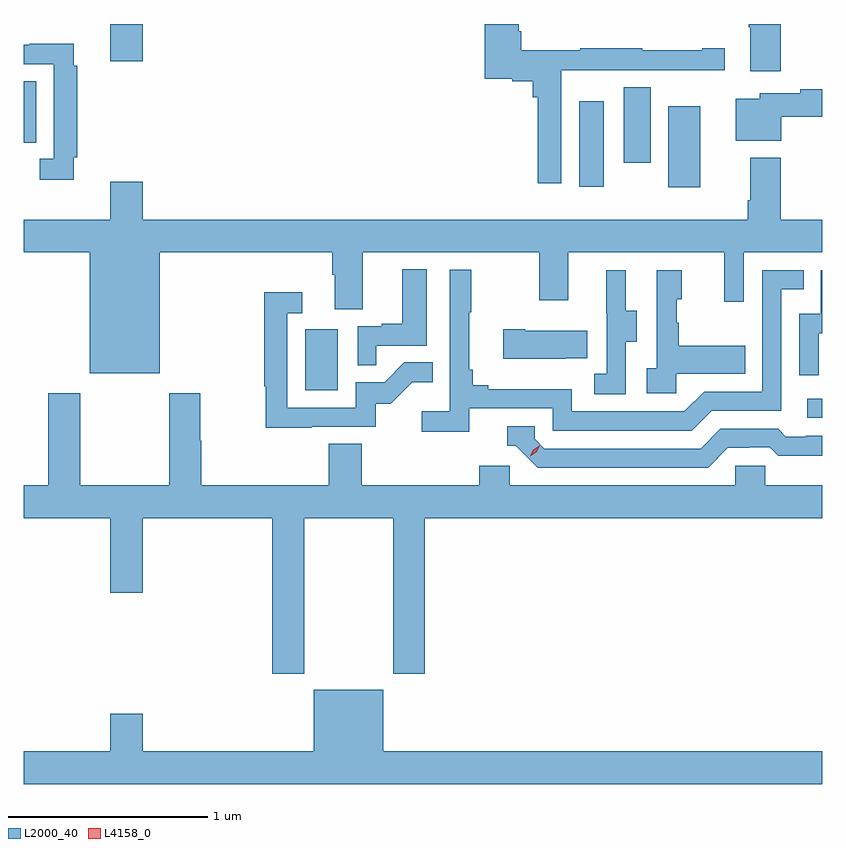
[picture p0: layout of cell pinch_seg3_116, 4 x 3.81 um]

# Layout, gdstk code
import gdstk
lib = gdstk.Library(unit=1e-6, precision=1e-09)
def R(c, l, rs):  # rectangles x0, y0, x1, y1
    for r in rs: c.add(gdstk.rectangle(r[:2], r[2:], *l))
def P(c, l, *ps):  # polygons
    for p in ps: c.add(gdstk.Polygon(p, *l))
L2000_40 = (2000, 40)
L4158_0 = (4158, 0)

pinch_seg3_116 = lib.new_cell('pinch_seg3_116')
R(pinch_seg3_116, L2000_40, [(1067.601,717.402,1067.676,717.498), (1065.086,717.54,1065.25,717.847), (1066.904,718.557,1067.065,718.963), (1066.46,718.56,1066.582,718.99), (1066.682,718.68,1066.816,719.06), (1063.676,718.782,1063.738,719.089), (1064.108,719.19,1064.272,719.376)])
P(pinch_seg3_116, L2000_40, [(1067.468,719.376),(1067.308,719.376),(1067.308,719.36),(1067.315,719.36),(1067.315,719.139),(1067.468,719.139)],
  [(1066.368,719.144),(1066.578,719.144),(1066.578,719.145),(1066.912,719.145),(1066.912,719.144),(1067.188,719.144),(1067.188,719.254),(1067.075,719.254),(1067.075,719.244),(1066.775,719.244),(1066.775,719.254),(1066.465,719.254),(1066.465,719.244),(1066.169,719.244),(1066.169,719.34),(1066.156,719.34),(1066.156,719.376),(1065.986,719.376),(1065.986,719.102),(1066.122,719.102),(1066.122,719.09),(1066.226,719.09),(1066.226,719.009),(1066.252,719.009),(1066.252,718.578),(1066.368,718.578)],
  [(1063.925,718.708),(1063.943,718.708),(1063.943,719.168),(1063.925,719.168),(1063.925,719.276),(1063.705,719.276),(1063.705,719.271),(1063.676,719.271),(1063.676,719.175),(1063.827,719.175),(1063.827,718.701),(1063.755,718.701),(1063.755,718.596),(1063.925,718.596)],
  [(1067.47,718.912),(1067.676,718.912),(1067.676,719.048),(1067.566,719.048),(1067.566,719.028),(1067.364,719.028),(1067.364,719.002),(1067.243,719.002),(1067.243,718.79),(1067.47,718.79)],
  [(1064.356,718.232),(1065.221,718.232),(1065.221,718.12),(1065.233,718.12),(1065.233,717.946),(1065.373,717.946),(1065.373,718.232),(1066.258,718.232),(1066.258,717.993),(1066.405,717.993),(1066.405,718.232),(1067.186,718.232),(1067.186,717.984),(1067.283,717.984),(1067.283,718.232),(1067.676,718.232),(1067.676,718.396),(1067.468,718.396),(1067.468,718.705),(1067.315,718.705),(1067.315,718.492),(1067.303,718.492),(1067.303,718.396),(1064.272,718.396),(1064.272,718.585),(1064.108,718.585),(1064.108,718.396),(1063.676,718.396),(1063.676,718.232),(1064.006,718.232),(1064.006,717.626),(1064.356,717.626)],
  [(1065.443,717.765),(1065.694,717.765),(1065.694,718.147),(1065.572,718.147),(1065.572,717.874),(1065.469,717.874),(1065.469,717.861),(1065.348,717.861),(1065.348,717.667),(1065.443,717.667)],
  [(1065.908,717.45),(1066.326,717.45),(1066.326,717.339),(1067.023,717.339),(1067.122,717.438),(1067.472,717.438),(1067.472,718.047),(1067.585,718.047),(1067.585,718.143),(1067.376,718.143),(1067.376,717.534),(1067.085,717.534),(1066.986,717.435),(1066.422,717.435),(1066.422,717.547),(1066.003,717.547),(1066.003,717.566),(1065.926,717.566),(1065.926,717.643),(1065.907,717.643),(1065.907,717.931),(1065.919,717.931),(1065.919,718.144),(1065.81,718.144),(1065.81,717.436),(1065.669,717.436),(1065.669,717.334),(1065.908,717.334)],
  [(1067.658,717.827),(1067.676,717.827),(1067.676,718.143),(1067.67,718.143),(1067.67,717.924),(1067.562,717.924),(1067.562,717.615),(1067.658,717.615)],
  [(1066.944,717.623),(1067.291,717.623),(1067.291,717.763),(1066.957,717.763),(1066.957,717.878),(1066.947,717.878),(1066.947,717.996),(1066.972,717.996),(1066.972,718.141),(1066.848,718.141),(1066.848,717.65),(1066.797,717.65),(1066.797,717.525),(1066.944,717.525)],
  [(1066.692,717.784),(1066.747,717.784),(1066.747,717.939),(1066.693,717.939),(1066.693,718.141),(1066.595,718.141),(1066.595,717.927),(1066.596,717.927),(1066.596,717.623),(1066.533,717.623),(1066.533,717.52),(1066.692,717.52)],
  [(1065.119,717.357),(1065.438,717.357),(1065.438,717.474),(1065.514,717.474),(1065.621,717.581),(1065.725,717.581),(1065.725,717.68),(1065.582,717.68),(1065.484,717.582),(1065.339,717.582),(1065.339,717.453),(1064.997,717.453),(1064.997,717.927),(1065.07,717.927),(1065.07,718.033),(1064.881,718.033),(1064.881,717.56),(1064.889,717.56),(1064.889,717.352),(1065.119,717.352)],
  [(1066.391,717.701),(1066.499,717.701),(1066.499,717.838),(1066.189,717.838),(1066.189,717.846),(1066.077,717.846),(1066.077,717.698),(1066.391,717.698)],
  [(1065.526,716.121),(1065.686,716.121),(1065.686,716.9),(1067.676,716.9),(1067.676,717.064),(1067.391,717.064),(1067.391,717.162),(1067.241,717.162),(1067.241,717.064),(1066.11,717.064),(1066.11,717.162),(1065.959,717.162),(1065.959,717.064),(1065.368,717.064),(1065.368,717.272),(1065.203,717.272),(1065.203,717.064),(1064.564,717.064),(1064.564,717.287),(1064.559,717.287),(1064.559,717.526),(1064.404,717.526),(1064.404,717.064),(1063.959,717.064),(1063.959,717.526),(1063.799,717.526),(1063.799,717.064),(1063.676,717.064),(1063.676,716.9),(1064.108,716.9),(1064.108,716.526),(1064.272,716.526),(1064.272,716.9),(1064.921,716.9),(1064.921,716.121),(1065.081,716.121),(1065.081,716.9),(1065.526,716.9)],
  [(1067.203,717.252),(1067.31,717.252),(1067.31,717.255),(1067.413,717.255),(1067.455,717.213),(1067.676,717.213),(1067.676,717.312),(1067.593,717.312),(1067.593,717.309),(1067.494,717.309),(1067.455,717.348),(1067.166,717.348),(1067.067,717.249),(1066.284,717.249),(1066.236,717.297),(1066.236,717.36),(1066.097,717.36),(1066.097,717.264),(1066.14,717.264),(1066.251,717.153),(1067.104,717.153)],
  [(1067.676,715.732),(1065.478,715.732),(1065.478,716.041),(1065.128,716.041),(1065.128,715.732),(1064.272,715.732),(1064.272,715.921),(1064.108,715.921),(1064.108,715.732),(1063.676,715.732),(1063.676,715.568),(1067.676,715.568)])
P(pinch_seg3_116, L4158_0, [(1066.214,717.21),(1066.214,717.21),(1066.229,717.243),(1066.259,717.263),(1066.26,717.263),(1066.26,717.263),(1066.244,717.23),(1066.214,717.21)])

lib.write_gds('pinch_seg3_116.gds')
